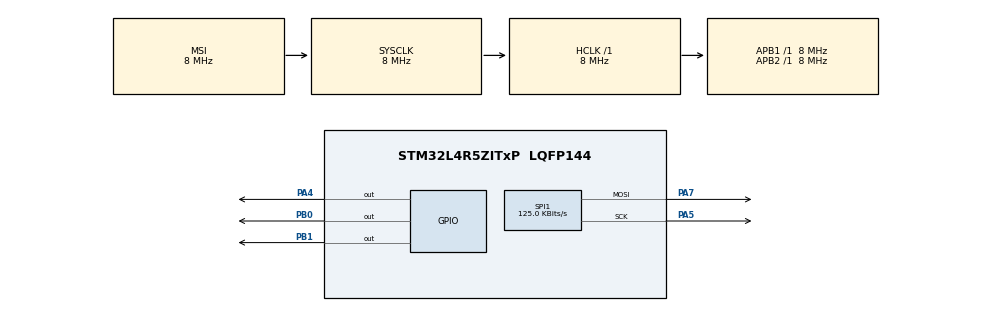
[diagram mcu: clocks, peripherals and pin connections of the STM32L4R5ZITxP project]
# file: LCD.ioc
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Mcu.Family=STM32L4
Mcu.Name=STM32L4R5ZITxP
Mcu.Package=LQFP144
NVIC.PriorityGroup=NVIC_PRIORITYGROUP_4
PA0.Signal=S_TIM2_CH1
PA1.Signal=ADCx_IN6
PA10.Signal=USB_OTG_FS_ID
PA13\ (JTMS/SWDIO).Signal=SYS_JTMS-SWDIO
PA14\ (JTCK/SWCLK).Signal=SYS_JTCK-SWCLK
PA3.Signal=ADCx_IN8
PA4.Signal=GPIO_Output
PA5.Mode=TX_Only_Simplex_Unidirect_Master
PA5.Signal=SPI1_SCK
PA6.Signal=SPI1_MISO
PA7.Mode=TX_Only_Simplex_Unidirect_Master
PA7.Signal=SPI1_MOSI
PA8.Signal=USB_OTG_FS_SOF
PA9.Signal=USB_OTG_FS_VBUS
PB0.Signal=GPIO_Output
PB1.Signal=GPIO_Output
PB10.Signal=S_TIM2_CH3
PB12.Signal=SAI2_FS_A
PB13.Signal=SAI2_SCK_A
PB14.Signal=S_TIM15_CH1
PB15.Signal=SAI2_SD_A
PB2.Signal=COMP1_INP
PB3\ (JTDO/TRACESWO).Signal=SPI3_SCK
PB4\ (NJTRST).Signal=SPI3_MISO
PB5.Signal=SPI3_MOSI
PB6.Signal=COMP2_INP
PB8.Signal=I2C1_SCL
PB9.Signal=I2C1_SDA
PC0.Signal=ADCx_IN1
PC1.Signal=ADCx_IN2
PC10.Signal=SDMMC1_D2
PC11.Signal=SDMMC1_D3
PC12.Signal=SDMMC1_CK
PC13.Signal=SYS_WKUP2
PC14-OSC32_IN\ (PC14).Signal=RCC_OSC32_IN
PC15-OSC32_OUT\ (PC15).Signal=RCC_OSC32_OUT
PC2.Signal=ADCx_IN3
PC3.Signal=ADCx_IN4
PC4.Signal=ADCx_IN13
PC5.Signal=ADCx_IN14
PC6.Signal=SAI2_MCLK_A
PC7.Signal=S_TIM3_CH2
PC8.Signal=SDMMC1_D0
PC9.Signal=SDMMC1_D1
PD0.Signal=CAN1_RX
PD14.Signal=S_TIM4_CH3
PD15.Signal=S_TIM4_CH4
PD2.Signal=SDMMC1_CMD
PD3.Signal=USART2_CTS
PD4.Signal=USART2_RTS
PD5.Signal=USART2_TX
PD6.Signal=USART2_RX
PD8.Signal=USART3_TX
PD9.Signal=USART3_RX
PE0.Signal=S_TIM4_ETR
PE10.Signal=TIM1_CH2N
PE11.Signal=S_TIM1_CH2
PE12.Signal=TIM1_CH3N
PE13.Signal=S_TIM1_CH3
PE14.Signal=TIM1_BKIN2
PE15.Signal=TIM1_BKIN
PE2.Signal=SAI1_MCLK_A
PE3.Signal=SAI1_SD_B
PE7.Signal=S_TIM1_ETR
PE8.Signal=TIM1_CH1N
PE9.Signal=S_TIM1_CH1
PF0.Signal=I2C2_SDA
PF1.Signal=I2C2_SCL
PF2.Signal=I2C2_SMBA
PF7.Signal=SAI1_MCLK_B
PG7.Signal=LPUART1_TX
PG8.Signal=LPUART1_RX
PH0-OSC_IN\ (PH0).Signal=RCC_OSC_IN
PH1-OSC_OUT\ (PH1).Signal=RCC_OSC_OUT
ProjectManager.HeapSize=0x200
ProjectManager.StackSize=0x400
ProjectManager.TargetToolchain=STM32CubeIDE
RCC.ADCFreq_Value=32000000
RCC.AHBFreq_Value=8000000
RCC.APB1Freq_Value=8000000
RCC.APB1TimFreq_Value=8000000
RCC.APB2Freq_Value=8000000
RCC.APB2TimFreq_Value=8000000
RCC.CortexFreq_Value=8000000
RCC.HCLKFreq_Value=8000000
RCC.HSE_VALUE=8000000
RCC.HSI48_VALUE=48000000
RCC.HSI_VALUE=16000000
RCC.LSE_VALUE=32768
RCC.MSIClockRange=RCC_MSIRANGE_7
RCC.MSI_VALUE=8000000
RCC.SYSCLKFreq_VALUE=8000000
RCC.USBFreq_Value=32000000
RCC.VCOOutputFreq_Value=64000000
SH.ADCx_IN1.0=ADC1_IN1
SH.ADCx_IN13.0=ADC1_IN13
SH.ADCx_IN14.0=ADC1_IN14
SH.ADCx_IN2.0=ADC1_IN2
SH.ADCx_IN3.0=ADC1_IN3
SH.ADCx_IN4.0=ADC1_IN4
SH.ADCx_IN6.0=ADC1_IN6
SH.ADCx_IN8.0=ADC1_IN8
SH.S_TIM15_CH1.0=TIM15_CH1
SH.S_TIM1_CH1.0=TIM1_CH1
SH.S_TIM1_CH2.0=TIM1_CH2
SH.S_TIM1_CH3.0=TIM1_CH3
SH.S_TIM1_ETR.0=TIM1_ETR
SH.S_TIM2_CH1.0=TIM2_CH1
SH.S_TIM2_CH3.0=TIM2_CH3
SH.S_TIM3_CH2.0=TIM3_CH2
SH.S_TIM4_CH3.0=TIM4_CH3
SH.S_TIM4_CH4.0=TIM4_CH4
SH.S_TIM4_ETR.0=TIM4_ETR
SPI1.BaudRatePrescaler=SPI_BAUDRATEPRESCALER_64
SPI1.CalculateBaudRate=125.0 KBits/s
SPI1.DataSize=SPI_DATASIZE_8BIT
SPI1.Direction=SPI_DIRECTION_2LINES
SPI1.Mode=SPI_MODE_MASTER
SPI1.VirtualType=VM_MASTER
board=NUCLEO-L4R5ZI-P

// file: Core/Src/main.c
/* USER CODE BEGIN Header */
/**
  ******************************************************************************
  * @file           : main.c
  * @brief          : Main program body
  ******************************************************************************
  * @attention
  *
  * Copyright (c) 2024 STMicroelectronics.
  * All rights reserved.
  *
  * This software is licensed under terms that can be found in the LICENSE file
  * in the root directory of this software component.
  * If no LICENSE file comes with this software, it is provided AS-IS.
  *
  ******************************************************************************
  */
/* USER CODE END Header */
#include "main.h"

/* USER CODE BEGIN Includes */

#include <string.h>
#include <stdarg.h>
#include "ili9341.h"
#include "fonts.h"
#include "testimg.h"
#include "test_squirrel_1.h"
#include "test_squirrel_2.h"
#include "test_umich_1.h"
/* USER CODE END Includes */

SPI_HandleTypeDef hspi1;

void SystemClock_Config(void);
static void MX_GPIO_Init(void);
static void MX_SPI1_Init(void);

int main(void)
{

  /* MCU Configuration--------------------------------------------------------*/

  /* Reset of all peripherals, Initializes the Flash interface and the Systick. */
  HAL_Init();

  /* Configure the system clock */
  SystemClock_Config();

  /* Initialize all configured peripherals */
  MX_GPIO_Init();
  MX_SPI1_Init();
  /* USER CODE BEGIN 2 */

  // Initialization Functions
  ILI9341_Unselect();
  ILI9341_Init();

  /* USER CODE END 2 */

  /* Infinite loop */
  /* USER CODE BEGIN WHILE */
  while (1)
  {

	  // Sample Test Program - Can use function calls defined in ili9341.h

	  //ILI9341_FillScreen(ILI9341_BLACK);

	  ILI9341_DrawImage((ILI9341_WIDTH - 320)/2,(ILI9341_HEIGHT-240)/2,320,240,(const uint16_t*)squirrelclip);
	  HAL_Delay(2000);
	  ILI9341_FillScreen(ILI9341_WHITE);

	  ILI9341_DrawImage((ILI9341_WIDTH - 320)/2,(ILI9341_HEIGHT-213)/2,320,213,(const uint16_t*)squirrelres);
	  HAL_Delay(2000);
	  ILI9341_FillScreen(ILI9341_WHITE);

	  ILI9341_DrawImage((ILI9341_WIDTH - 320)/2,(ILI9341_HEIGHT-203)/2,320,203,(const uint16_t*)MLogo);
	  HAL_Delay(1000);
	  ILI9341_FillScreen(ILI9341_WHITE);

	  const char* team1 = "FEED";
	  const char* team2 = "THE";
	  const char* team3 = "SQUIRRELS";
	  const char* class = "from eecs 373";
	  const char* linebrk = "-*-*-*-*-*-";
	  const char* squcount = "Squirrels Fed: 4";
	  const char* flevels = "Food Supply: 50%";
	  ILI9341_WriteString(10, 10, team1, Font_16x26, ILI9341_YELLOW, ILI9341_BLUE);
	  ILI9341_WriteString(10, 40, team2, Font_16x26, ILI9341_YELLOW, ILI9341_BLUE);
	  ILI9341_WriteString(10, 70, team3, Font_16x26, ILI9341_YELLOW, ILI9341_BLUE);
	  ILI9341_WriteString(10, 100, class, Font_11x18, ILI9341_YELLOW, ILI9341_BLUE);
	  ILI9341_WriteString(10, 130, linebrk, Font_11x18, ILI9341_YELLOW, ILI9341_BLUE);
	  ILI9341_WriteString(10, 160, squcount, Font_11x18, ILI9341_YELLOW, ILI9341_BLUE);
	  ILI9341_WriteString(10, 190, flevels, Font_11x18, ILI9341_YELLOW, ILI9341_BLUE);
	  HAL_Delay(5000);
	  ILI9341_FillScreen(ILI9341_WHITE);

    /* USER CODE END WHILE */

  }
}

void SystemClock_Config(void)
{
  RCC_OscInitTypeDef RCC_OscInitStruct = {0};
  RCC_ClkInitTypeDef RCC_ClkInitStruct = {0};

  /** Configure the main internal regulator output voltage
  */
  if (HAL_PWREx_ControlVoltageScaling(PWR_REGULATOR_VOLTAGE_SCALE1) != HAL_OK)
  {
    Error_Handler();
  }

  /** Initializes the RCC Oscillators according to the specified parameters
  * in the RCC_OscInitTypeDef structure.
  */
  RCC_OscInitStruct.OscillatorType = RCC_OSCILLATORTYPE_MSI;
  RCC_OscInitStruct.MSIState = RCC_MSI_ON;
  RCC_OscInitStruct.MSICalibrationValue = 0;
  RCC_OscInitStruct.MSIClockRange = RCC_MSIRANGE_7;
  RCC_OscInitStruct.PLL.PLLState = RCC_PLL_NONE;
  if (HAL_RCC_OscConfig(&RCC_OscInitStruct) != HAL_OK)
  {
    Error_Handler();
  }

  /** Initializes the CPU, AHB and APB buses clocks
  */
  RCC_ClkInitStruct.ClockType = RCC_CLOCKTYPE_HCLK|RCC_CLOCKTYPE_SYSCLK
                              |RCC_CLOCKTYPE_PCLK1|RCC_CLOCKTYPE_PCLK2;
  RCC_ClkInitStruct.SYSCLKSource = RCC_SYSCLKSOURCE_MSI;
  RCC_ClkInitStruct.AHBCLKDivider = RCC_SYSCLK_DIV1;
  RCC_ClkInitStruct.APB1CLKDivider = RCC_HCLK_DIV1;
  RCC_ClkInitStruct.APB2CLKDivider = RCC_HCLK_DIV1;

  if (HAL_RCC_ClockConfig(&RCC_ClkInitStruct, FLASH_LATENCY_0) != HAL_OK)
  {
    Error_Handler();
  }
}

static void MX_SPI1_Init(void)
{

  /* SPI1 parameter configuration*/
  hspi1.Instance = SPI1;
  hspi1.Init.Mode = SPI_MODE_MASTER;
  hspi1.Init.Direction = SPI_DIRECTION_2LINES;
  hspi1.Init.DataSize = SPI_DATASIZE_8BIT;
  hspi1.Init.CLKPolarity = SPI_POLARITY_LOW;
  hspi1.Init.CLKPhase = SPI_PHASE_1EDGE;
  hspi1.Init.NSS = SPI_NSS_SOFT;
  hspi1.Init.BaudRatePrescaler = SPI_BAUDRATEPRESCALER_64;
  hspi1.Init.FirstBit = SPI_FIRSTBIT_MSB;
  hspi1.Init.TIMode = SPI_TIMODE_DISABLE;
  hspi1.Init.CRCCalculation = SPI_CRCCALCULATION_DISABLE;
  hspi1.Init.CRCPolynomial = 7;
  hspi1.Init.CRCLength = SPI_CRC_LENGTH_DATASIZE;
  hspi1.Init.NSSPMode = SPI_NSS_PULSE_ENABLE;
  if (HAL_SPI_Init(&hspi1) != HAL_OK)
  {
    Error_Handler();
  }

}

static void MX_GPIO_Init(void)
{
  GPIO_InitTypeDef GPIO_InitStruct = {0};

  /* GPIO Ports Clock Enable */
  __HAL_RCC_GPIOE_CLK_ENABLE();
  __HAL_RCC_GPIOC_CLK_ENABLE();
  __HAL_RCC_GPIOF_CLK_ENABLE();
  __HAL_RCC_GPIOH_CLK_ENABLE();
  __HAL_RCC_GPIOA_CLK_ENABLE();
  __HAL_RCC_GPIOB_CLK_ENABLE();
  __HAL_RCC_GPIOD_CLK_ENABLE();
  __HAL_RCC_GPIOG_CLK_ENABLE();
  HAL_PWREx_EnableVddIO2();

  /*Configure GPIO pin Output Level */
  HAL_GPIO_WritePin(GPIOA, GPIO_PIN_4, GPIO_PIN_RESET);

  /*Configure GPIO pin Output Level */
  HAL_GPIO_WritePin(GPIOB, GPIO_PIN_0|GPIO_PIN_1, GPIO_PIN_RESET);

  /*Configure GPIO pins : PE2 PE3 */
  GPIO_InitStruct.Pin = GPIO_PIN_2|GPIO_PIN_3;
  GPIO_InitStruct.Mode = GPIO_MODE_AF_PP;
  GPIO_InitStruct.Pull = GPIO_NOPULL;
  GPIO_InitStruct.Speed = GPIO_SPEED_FREQ_LOW;
  GPIO_InitStruct.Alternate = GPIO_AF13_SAI1;
  HAL_GPIO_Init(GPIOE, &GPIO_InitStruct);

  /*Configure GPIO pins : PF0 PF1 PF2 */
  GPIO_InitStruct.Pin = GPIO_PIN_0|GPIO_PIN_1|GPIO_PIN_2;
  GPIO_InitStruct.Mode = GPIO_MODE_AF_OD;
  GPIO_InitStruct.Pull = GPIO_NOPULL;
  GPIO_InitStruct.Speed = GPIO_SPEED_FREQ_VERY_HIGH;
  GPIO_InitStruct.Alternate = GPIO_AF4_I2C2;
  HAL_GPIO_Init(GPIOF, &GPIO_InitStruct);

  /*Configure GPIO pin : PF7 */
  GPIO_InitStruct.Pin = GPIO_PIN_7;
  GPIO_InitStruct.Mode = GPIO_MODE_AF_PP;
  GPIO_InitStruct.Pull = GPIO_NOPULL;
  GPIO_InitStruct.Speed = GPIO_SPEED_FREQ_LOW;
  GPIO_InitStruct.Alternate = GPIO_AF13_SAI1;
  HAL_GPIO_Init(GPIOF, &GPIO_InitStruct);

  /*Configure GPIO pins : PC0 PC1 PC2 PC3
                           PC4 PC5 */
  GPIO_InitStruct.Pin = GPIO_PIN_0|GPIO_PIN_1|GPIO_PIN_2|GPIO_PIN_3
                          |GPIO_PIN_4|GPIO_PIN_5;
  GPIO_InitStruct.Mode = GPIO_MODE_ANALOG_ADC_CONTROL;
  GPIO_InitStruct.Pull = GPIO_NOPULL;
  HAL_GPIO_Init(GPIOC, &GPIO_InitStruct);

  /*Configure GPIO pin : PA0 */
  GPIO_InitStruct.Pin = GPIO_PIN_0;
  GPIO_InitStruct.Mode = GPIO_MODE_AF_PP;
  GPIO_InitStruct.Pull = GPIO_NOPULL;
  GPIO_InitStruct.Speed = GPIO_SPEED_FREQ_LOW;
  GPIO_InitStruct.Alternate = GPIO_AF1_TIM2;
  HAL_GPIO_Init(GPIOA, &GPIO_InitStruct);

  /*Configure GPIO pins : PA1 PA3 */
  GPIO_InitStruct.Pin = GPIO_PIN_1|GPIO_PIN_3;
  GPIO_InitStruct.Mode = GPIO_MODE_ANALOG_ADC_CONTROL;
  GPIO_InitStruct.Pull = GPIO_NOPULL;
  HAL_GPIO_Init(GPIOA, &GPIO_InitStruct);

  /*Configure GPIO pin : PA4 */
  GPIO_InitStruct.Pin = GPIO_PIN_4;
  GPIO_InitStruct.Mode = GPIO_MODE_OUTPUT_PP;
  GPIO_InitStruct.Pull = GPIO_NOPULL;
  GPIO_InitStruct.Speed = GPIO_SPEED_FREQ_LOW;
  HAL_GPIO_Init(GPIOA, &GPIO_InitStruct);

  /*Configure GPIO pins : PB0 PB1 */
  GPIO_InitStruct.Pin = GPIO_PIN_0|GPIO_PIN_1;
  GPIO_InitStruct.Mode = GPIO_MODE_OUTPUT_PP;
  GPIO_InitStruct.Pull = GPIO_NOPULL;
  GPIO_InitStruct.Speed = GPIO_SPEED_FREQ_LOW;
  HAL_GPIO_Init(GPIOB, &GPIO_InitStruct);

  /*Configure GPIO pins : PB2 PB6 */
  GPIO_InitStruct.Pin = GPIO_PIN_2|GPIO_PIN_6;
  GPIO_InitStruct.Mode = GPIO_MODE_ANALOG;
  GPIO_InitStruct.Pull = GPIO_NOPULL;
  HAL_GPIO_Init(GPIOB, &GPIO_InitStruct);

  /*Configure GPIO pins : PE7 PE8 PE9 PE10
                           PE11 PE12 PE13 */
  GPIO_InitStruct.Pin = GPIO_PIN_7|GPIO_PIN_8|GPIO_PIN_9|GPIO_PIN_10
                          |GPIO_PIN_11|GPIO_PIN_12|GPIO_PIN_13;
  GPIO_InitStruct.Mode = GPIO_MODE_AF_PP;
  GPIO_InitStruct.Pull = GPIO_NOPULL;
  GPIO_InitStruct.Speed = GPIO_SPEED_FREQ_LOW;
  GPIO_InitStruct.Alternate = GPIO_AF1_TIM1;
  HAL_GPIO_Init(GPIOE, &GPIO_InitStruct);

  /*Configure GPIO pins : PE14 PE15 */
  GPIO_InitStruct.Pin = GPIO_PIN_14|GPIO_PIN_15;
  GPIO_InitStruct.Mode = GPIO_MODE_AF_PP;
  GPIO_InitStruct.Pull = GPIO_NOPULL;
  GPIO_InitStruct.Speed = GPIO_SPEED_FREQ_LOW;
  GPIO_InitStruct.Alternate = GPIO_AF3_TIM1_COMP1;
  HAL_GPIO_Init(GPIOE, &GPIO_InitStruct);

  /*Configure GPIO pin : PB10 */
  GPIO_InitStruct.Pin = GPIO_PIN_10;
  GPIO_InitStruct.Mode = GPIO_MODE_AF_PP;
  GPIO_InitStruct.Pull = GPIO_NOPULL;
  GPIO_InitStruct.Speed = GPIO_SPEED_FREQ_LOW;
  GPIO_InitStruct.Alternate = GPIO_AF1_TIM2;
  HAL_GPIO_Init(GPIOB, &GPIO_InitStruct);

  /*Configure GPIO pins : PB12 PB13 PB15 */
  GPIO_InitStruct.Pin = GPIO_PIN_12|GPIO_PIN_13|GPIO_PIN_15;
  GPIO_InitStruct.Mode = GPIO_MODE_AF_PP;
  GPIO_InitStruct.Pull = GPIO_NOPULL;
  GPIO_InitStruct.Speed = GPIO_SPEED_FREQ_LOW;
  GPIO_InitStruct.Alternate = GPIO_AF13_SAI2;
  HAL_GPIO_Init(GPIOB, &GPIO_InitStruct);

  /*Configure GPIO pin : PB14 */
  GPIO_InitStruct.Pin = GPIO_PIN_14;
  GPIO_InitStruct.Mode = GPIO_MODE_AF_PP;
  GPIO_InitStruct.Pull = GPIO_NOPULL;
  GPIO_InitStruct.Speed = GPIO_SPEED_FREQ_LOW;
  GPIO_InitStruct.Alternate = GPIO_AF14_TIM15;
  HAL_GPIO_Init(GPIOB, &GPIO_InitStruct);

  /*Configure GPIO pins : PD8 PD9 */
  GPIO_InitStruct.Pin = GPIO_PIN_8|GPIO_PIN_9;
  GPIO_InitStruct.Mode = GPIO_MODE_AF_PP;
  GPIO_InitStruct.Pull = GPIO_NOPULL;
  GPIO_InitStruct.Speed = GPIO_SPEED_FREQ_VERY_HIGH;
  GPIO_InitStruct.Alternate = GPIO_AF7_USART3;
  HAL_GPIO_Init(GPIOD, &GPIO_InitStruct);

  /*Configure GPIO pins : PD14 PD15 */
  GPIO_InitStruct.Pin = GPIO_PIN_14|GPIO_PIN_15;
  GPIO_InitStruct.Mode = GPIO_MODE_AF_PP;
  GPIO_InitStruct.Pull = GPIO_NOPULL;
  GPIO_InitStruct.Speed = GPIO_SPEED_FREQ_LOW;
  GPIO_InitStruct.Alternate = GPIO_AF2_TIM4;
  HAL_GPIO_Init(GPIOD, &GPIO_InitStruct);

  /*Configure GPIO pins : PG7 PG8 */
  GPIO_InitStruct.Pin = GPIO_PIN_7|GPIO_PIN_8;
  GPIO_InitStruct.Mode = GPIO_MODE_AF_PP;
  GPIO_InitStruct.Pull = GPIO_NOPULL;
  GPIO_InitStruct.Speed = GPIO_SPEED_FREQ_VERY_HIGH;
  GPIO_InitStruct.Alternate = GPIO_AF8_LPUART1;
  HAL_GPIO_Init(GPIOG, &GPIO_InitStruct);

  /*Configure GPIO pin : PC6 */
  GPIO_InitStruct.Pin = GPIO_PIN_6;
  GPIO_InitStruct.Mode = GPIO_MODE_AF_PP;
  GPIO_InitStruct.Pull = GPIO_NOPULL;
  GPIO_InitStruct.Speed = GPIO_SPEED_FREQ_LOW;
  GPIO_InitStruct.Alternate = GPIO_AF13_SAI2;
  HAL_GPIO_Init(GPIOC, &GPIO_InitStruct);

  /*Configure GPIO pin : PC7 */
  GPIO_InitStruct.Pin = GPIO_PIN_7;
  GPIO_InitStruct.Mode = GPIO_MODE_AF_PP;
  GPIO_InitStruct.Pull = GPIO_NOPULL;
  GPIO_InitStruct.Speed = GPIO_SPEED_FREQ_LOW;
  GPIO_InitStruct.Alternate = GPIO_AF2_TIM3;
  HAL_GPIO_Init(GPIOC, &GPIO_InitStruct);

  /*Configure GPIO pins : PC8 PC9 PC10 PC11
                           PC12 */
  GPIO_InitStruct.Pin = GPIO_PIN_8|GPIO_PIN_9|GPIO_PIN_10|GPIO_PIN_11
                          |GPIO_PIN_12;
  GPIO_InitStruct.Mode = GPIO_MODE_AF_PP;
  GPIO_InitStruct.Pull = GPIO_NOPULL;
  GPIO_InitStruct.Speed = GPIO_SPEED_FREQ_VERY_HIGH;
  GPIO_InitStruct.Alternate = GPIO_AF12_SDMMC1;
  HAL_GPIO_Init(GPIOC, &GPIO_InitStruct);

  /*Configure GPIO pins : PA8 PA10 */
  GPIO_InitStruct.Pin = GPIO_PIN_8|GPIO_PIN_10;
  GPIO_InitStruct.Mode = GPIO_MODE_AF_PP;
  GPIO_InitStruct.Pull = GPIO_NOPULL;
  GPIO_InitStruct.Speed = GPIO_SPEED_FREQ_VERY_HIGH;
  GPIO_InitStruct.Alternate = GPIO_AF10_OTG_FS;
  HAL_GPIO_Init(GPIOA, &GPIO_InitStruct);

  /*Configure GPIO pin : PA9 */
  GPIO_InitStruct.Pin = GPIO_PIN_9;
  GPIO_InitStruct.Mode = GPIO_MODE_INPUT;
  GPIO_InitStruct.Pull = GPIO_NOPULL;
  HAL_GPIO_Init(GPIOA, &GPIO_InitStruct);

  /*Configure GPIO pin : PD0 */
  GPIO_InitStruct.Pin = GPIO_PIN_0;
  GPIO_InitStruct.Mode = GPIO_MODE_AF_PP;
  GPIO_InitStruct.Pull = GPIO_NOPULL;
  GPIO_InitStruct.Speed = GPIO_SPEED_FREQ_VERY_HIGH;
  GPIO_InitStruct.Alternate = GPIO_AF9_CAN1;
  HAL_GPIO_Init(GPIOD, &GPIO_InitStruct);

  /*Configure GPIO pin : PD2 */
  GPIO_InitStruct.Pin = GPIO_PIN_2;
  GPIO_InitStruct.Mode = GPIO_MODE_AF_PP;
  GPIO_InitStruct.Pull = GPIO_NOPULL;
  GPIO_InitStruct.Speed = GPIO_SPEED_FREQ_VERY_HIGH;
  GPIO_InitStruct.Alternate = GPIO_AF12_SDMMC1;
  HAL_GPIO_Init(GPIOD, &GPIO_InitStruct);

  /*Configure GPIO pins : PD3 PD4 PD5 PD6 */
  GPIO_InitStruct.Pin = GPIO_PIN_3|GPIO_PIN_4|GPIO_PIN_5|GPIO_PIN_6;
  GPIO_InitStruct.Mode = GPIO_MODE_AF_PP;
  GPIO_InitStruct.Pull = GPIO_NOPULL;
  GPIO_InitStruct.Speed = GPIO_SPEED_FREQ_VERY_HIGH;
  GPIO_InitStruct.Alternate = GPIO_AF7_USART2;
  HAL_GPIO_Init(GPIOD, &GPIO_InitStruct);

  /*Configure GPIO pins : PB3 PB4 PB5 */
  GPIO_InitStruct.Pin = GPIO_PIN_3|GPIO_PIN_4|GPIO_PIN_5;
  GPIO_InitStruct.Mode = GPIO_MODE_AF_PP;
  GPIO_InitStruct.Pull = GPIO_NOPULL;
  GPIO_InitStruct.Speed = GPIO_SPEED_FREQ_VERY_HIGH;
  GPIO_InitStruct.Alternate = GPIO_AF6_SPI3;
  HAL_GPIO_Init(GPIOB, &GPIO_InitStruct);

  /*Configure GPIO pins : PB8 PB9 */
  GPIO_InitStruct.Pin = GPIO_PIN_8|GPIO_PIN_9;
  GPIO_InitStruct.Mode = GPIO_MODE_AF_OD;
  GPIO_InitStruct.Pull = GPIO_NOPULL;
  GPIO_InitStruct.Speed = GPIO_SPEED_FREQ_VERY_HIGH;
  GPIO_InitStruct.Alternate = GPIO_AF4_I2C1;
  HAL_GPIO_Init(GPIOB, &GPIO_InitStruct);

  /*Configure GPIO pin : PE0 */
  GPIO_InitStruct.Pin = GPIO_PIN_0;
  GPIO_InitStruct.Mode = GPIO_MODE_AF_PP;
  GPIO_InitStruct.Pull = GPIO_NOPULL;
  GPIO_InitStruct.Speed = GPIO_SPEED_FREQ_LOW;
  GPIO_InitStruct.Alternate = GPIO_AF2_TIM4;
  HAL_GPIO_Init(GPIOE, &GPIO_InitStruct);

}

void Error_Handler(void)
{
  __disable_irq();
  while (1)
  {
  }
}
